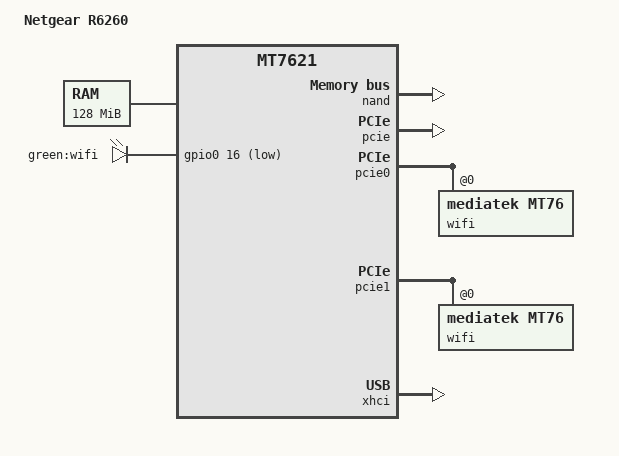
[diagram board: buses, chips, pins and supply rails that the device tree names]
/dts-v1/;

#include "mt7621.dtsi"
#include <dt-bindings/gpio/gpio.h>


/ {
	compatible = "netgear,r6260", "mediatek,mt7621-soc";
	model = "Netgear R6260";

	memory@0 {
		device_type = "memory";
		reg = <0x0 0x8000000>;
	};
	chosen {
		bootargs = "console=ttyS0,57600";
	};

	leds: leds {
		compatible = "gpio-leds";

		wifi {
			gpios = <&gpio0 16 GPIO_ACTIVE_LOW>;
			label = "green:wifi";
			linux,default-trigger = "phy0tpt";
		};
	};

};


&nand {
	status = "okay";

	partitions {
		compatible = "fixed-partitions";
		#address-cells = <1>;
		#size-cells = <1>;

		partition@0 {
			label = "u-boot";
			reg = <0x0 0x100000>;
			read-only;
		};

		partition@100000 {
			label = "SC PART_MAP";
			reg = <0x100000 0x100000>;
			read-only;
		};

		partition@200000 {
			label = "linux";
			reg = <0x200000 0x2c00000>;
		};

		partition@600000 {
			label = "ubi";
			reg = <0x600000 0x2800000>;
		};

		partition@2e00000 {
			label = "ddwrt";
			reg = <0x2e00000 0x1800000>;
		};

		factory: partition@4600000 {
			label = "factory";
			reg = <0x4600000 0x200000>;
			read-only;
		};
		
		partition@4800000 {
			label = "nvram";
			reg = <0x4800000 0x200000>;
		};

		partition@4A00000 {
			label = "reserved1";
			reg = <0x4A00000 0x3600000>;
			read-only;
		};
	};
};

&pcie {
	status = "okay";
};

&pcie0 {
	wifi@0,0 {
		compatible = "mediatek,mt76";
		reg = <0x0 0 0 0 0>;
		mediatek,mtd-eeprom = <&factory 0x8000>;
		mediatek,disable_2ghz = <1>;
		ieee80211-freq-limit = <5000000 6000000>;
	};
};

&pcie1 {
	wifi@0,0 {
		compatible = "mediatek,mt76";
		reg = <0x0 0 0 0 0>;
		mediatek,mtd-eeprom = <&factory 0x0>;
		mediatek,disable_5ghz = <1>;
		ieee80211-freq-limit = <2400000 2500000>;
	};
};

&pinctrl {
	state_default: pinctrl0 {
		gpio {
			ralink,group = "uart3", "uart2", "jtag", "wdt";
			ralink,function = "gpio";
		};
	};
};

&xhci {
	status = "okay";
};

